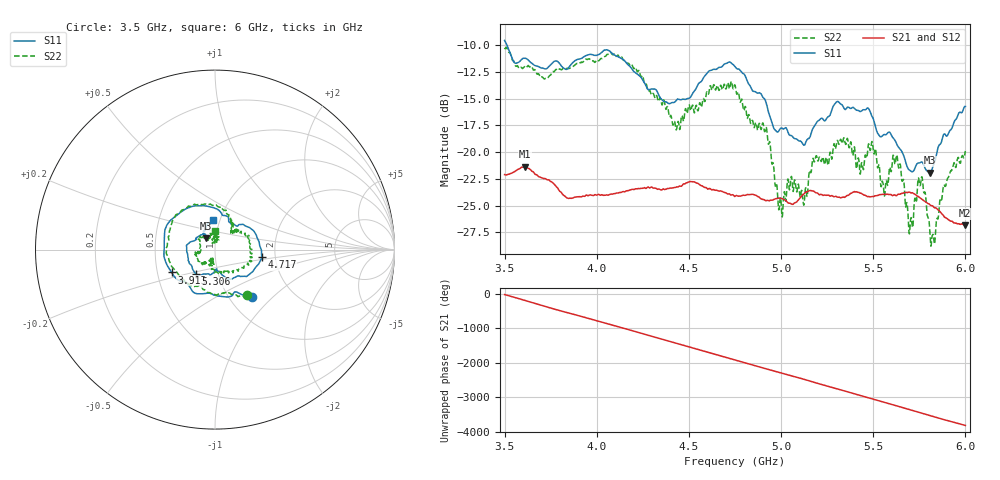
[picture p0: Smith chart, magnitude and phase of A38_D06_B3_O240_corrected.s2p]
! Created with skrf 1.9.0 (http://scikit-rf.org).
# Hz S RI R 50.0
!freq ReS11 ImS11 ReS21 ImS21 ReS12 ImS12 ReS22 ImS22
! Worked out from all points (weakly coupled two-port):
!   1601 points, 3.5 GHz to 6 GHz, reference 50 ohm
!   highest |S21| = -21.37 dB at 3.609 GHz (marker M1); lowest = -26.8 dB at 5.995 GHz (marker M2)
!   lowest |S11| = -21.9 dB at 5.808 GHz (marker M3), VSWR 1.17, Z = 44.8 + j5.59 ohm
!   |S11| at or under -10 dB: 3.513 GHz to end of sweep
!   |S22| runs from -28.8 to -10.2 dB; largest |S21 - S12| = 0.001
!   S11 on the Smith chart (normalised r, x): 3.5 GHz: 1.27, -0.75; 3.913 GHz: 0.59, -0.16; 4.717 GHz: 1.69, -0.15; 5.306 GHz: 0.78, -0.22; 6 GHz: 0.93, +0.31
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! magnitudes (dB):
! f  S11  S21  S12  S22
! 3.5 GHz  -9.6  -22.1  -22.1  -10.3
! 3.609 GHz  -11.2  -21.4  -21.4  -12.0
! 3.913 GHz  -11.3  -24.2  -24.1  -11.6
! 3.917 GHz  -11.2  -24.2  -24.1  -11.6
! 4.125 GHz  -11.2  -23.8  -23.7  -11.2
! 4.334 GHz  -14.6  -23.5  -23.4  -15.3
! 4.441 GHz  -15.0  -23.3  -23.2  -17.1
! 4.717 GHz  -11.6  -23.9  -23.9  -13.9
! 4.75 GHz  -12.0  -24.1  -24.0  -13.7
! 4.912 GHz  -15.1  -24.5  -24.4  -18.1
! 4.997 GHz  -17.8  -24.3  -24.3  -24.3
! 5.047 GHz  -18.4  -24.8  -24.8  -23.5
! 5.131 GHz  -19.2  -23.8  -23.8  -23.5
! 5.167 GHz  -18.0  -23.6  -23.6  -21.3
! 5.306 GHz  -15.3  -24.2  -24.1  -18.9
! 5.584 GHz  -18.1  -24.0  -23.9  -22.2
! 5.636 GHz  -19.5  -23.9  -23.9  -21.3
! 5.703 GHz  -21.8  -23.8  -23.8  -26.3
! 5.756 GHz  -21.0  -24.3  -24.2  -23.1
! 5.808 GHz  -21.9  -24.9  -24.9  -27.6
! 5.995 GHz  -15.7  -26.8  -26.7  -20.3
! 6 GHz  -15.7  -26.8  -26.7  -19.9
